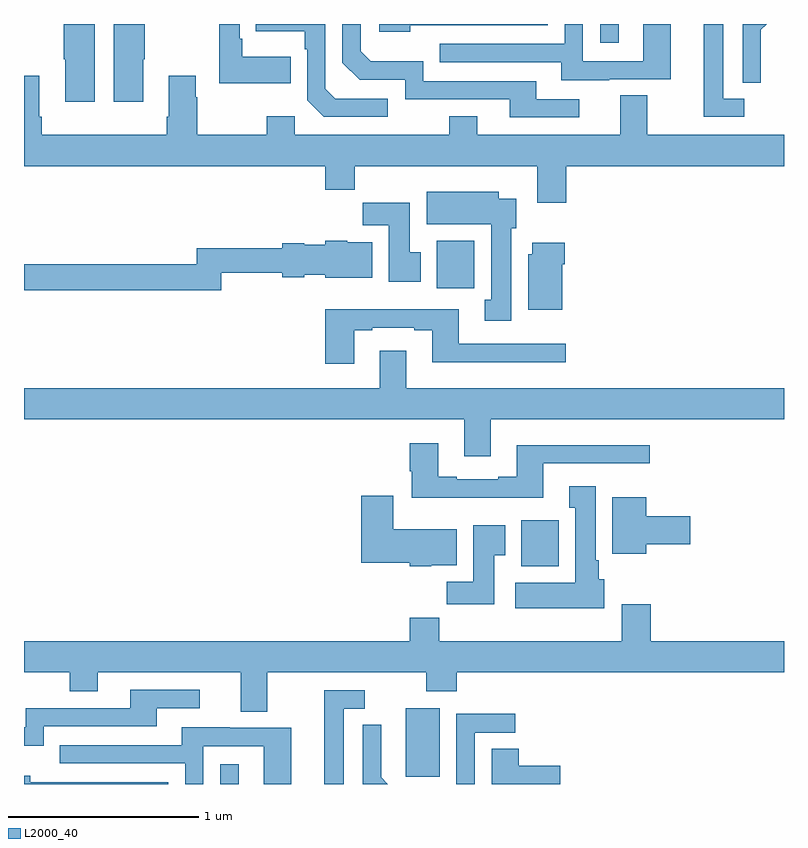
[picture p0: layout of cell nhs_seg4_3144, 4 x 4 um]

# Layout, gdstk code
import gdstk
lib = gdstk.Library(unit=1e-6, precision=1e-09)
def R(c, l, rs):  # rectangles x0, y0, x1, y1
    for r in rs: c.add(gdstk.rectangle(r[:2], r[2:], *l))
def P(c, l, *ps):  # polygons
    for p in ps: c.add(gdstk.Polygon(p, *l))
L2000_40 = (2000, 40)

nhs_seg4_3144 = lib.new_cell('nhs_seg4_3144')
R(nhs_seg4_3144, L2000_40, [(278.034,794.9,278.131,795.004), (279.008,794.937,279.187,795.298), (279.617,796.046,279.814,796.288), (279.173,797.508,279.369,797.758), (280.032,798.801,280.129,798.9)])
P(nhs_seg4_3144, L2000_40, [(279.922,798.504),(279.697,798.504),(279.697,798.6),(279.102,798.6),(279.102,798.703),(278.825,798.703),(278.772,798.756),(278.772,798.9),(278.676,798.9),(278.676,798.696),(278.766,798.606),(279.006,798.606),(279.006,798.504),(279.557,798.504),(279.557,798.408),(279.922,798.408)],
  [(280.792,798.507),(280.681,798.507),(280.681,798.9),(280.577,798.9),(280.577,798.411),(280.792,798.411)],
  [(278.405,798.727),(278.149,798.727),(278.149,798.823),(278.136,798.823),(278.136,798.9),(278.028,798.9),(278.028,798.587),(278.405,798.587)],
  [(278.914,798.507),(278.637,798.507),(278.586,798.558),(278.586,798.9),(278.221,798.9),(278.221,798.863),(278.478,798.863),(278.478,798.767),(278.49,798.767),(278.49,798.498),(278.577,798.411),(278.914,798.411)],
  [(280.081,798.609),(280.405,798.609),(280.405,798.9),(280.26,798.9),(280.26,798.705),(279.942,798.705),(279.942,798.9),(279.846,798.9),(279.846,798.795),(279.187,798.795),(279.187,798.699),(279.827,798.699),(279.827,798.605),(280.081,798.605)],
  [(277.372,798.9),(277.21,798.9),(277.21,798.715),(277.217,798.715),(277.217,798.492),(277.372,798.492)],
  [(277.627,798.715),(277.635,798.715),(277.635,798.9),(277.472,798.9),(277.472,798.492),(277.627,798.492)],
  [(280.878,798.746),(280.877,798.746),(280.877,798.869),(280.908,798.9),(280.782,798.9),(280.782,798.592),(280.878,798.592)],
  [(279.032,798.894),(279.756,798.894),(279.756,798.9),(278.871,798.9),(278.871,798.86),(279.032,798.86)],
  [(279.854,798.152),(281,798.152),(281,798.316),(280.279,798.316),(280.279,798.524),(280.139,798.524),(280.139,798.316),(279.385,798.316),(279.385,798.415),(279.238,798.415),(279.238,798.316),(278.424,798.316),(278.424,798.415),(278.278,798.415),(278.278,798.316),(277.911,798.316),(277.911,798.515),(277.903,798.515),(277.903,798.628),(277.763,798.628),(277.763,798.412),(277.751,798.412),(277.751,798.316),(277.094,798.316),(277.094,798.412),(277.081,798.412),(277.081,798.628),(277,798.628),(277,798.152),(278.585,798.152),(278.585,798.028),(278.741,798.028),(278.741,798.152),(279.701,798.152),(279.701,797.958),(279.854,797.958)],
  [(279.565,797.826),(279.592,797.826),(279.592,797.98),(279.499,797.98),(279.499,798.016),(279.119,798.016),(279.119,797.846),(279.458,797.846),(279.458,797.449),(279.425,797.449),(279.425,797.337),(279.565,797.337)],
  [(279.088,797.7),(279.031,797.7),(279.031,797.958),(278.782,797.958),(278.782,797.84),(278.921,797.84),(278.921,797.544),(279.088,797.544)],
  [(278.038,797.59),(278.36,797.59),(278.36,797.567),(278.475,797.567),(278.475,797.579),(278.586,797.579),(278.586,797.564),(278.833,797.564),(278.833,797.752),(278.7,797.752),(278.7,797.758),(278.586,797.758),(278.586,797.737),(278.475,797.737),(278.475,797.745),(278.36,797.745),(278.36,797.719),(277.909,797.719),(277.909,797.636),(277,797.636),(277,797.5),(278.038,797.5)],
  [(279.832,797.636),(279.845,797.636),(279.845,797.749),(279.674,797.749),(279.674,797.688),(279.653,797.688),(279.653,797.396),(279.832,797.396)],
  [(278.737,797.289),(278.833,797.289),(278.833,797.301),(279.053,797.301),(279.053,797.289),(279.149,797.289),(279.149,797.12),(279.85,797.12),(279.85,797.217),(279.289,797.217),(279.289,797.398),(278.585,797.398),(278.585,797.112),(278.737,797.112)],
  [(279.457,796.82),(281,796.82),(281,796.984),(279.013,796.984),(279.013,797.179),(278.873,797.179),(278.873,796.984),(277,796.984),(277,796.82),(279.317,796.82),(279.317,796.626),(279.457,796.626)],
  [(279.733,796.587),(280.294,796.587),(280.294,796.684),(279.593,796.684),(279.593,796.516),(279.497,796.516),(279.497,796.503),(279.277,796.503),(279.277,796.516),(279.181,796.516),(279.181,796.693),(279.029,796.693),(279.029,796.545),(279.041,796.545),(279.041,796.406),(279.733,796.406)],
  [(280.054,795.978),(280.024,795.978),(280.024,796.078),(280.009,796.078),(280.009,796.468),(279.869,796.468),(279.869,796.355),(279.902,796.355),(279.902,795.958),(279.585,795.958),(279.585,795.824),(280.054,795.824)],
  [(279.144,796.052),(279.277,796.052),(279.277,796.24),(278.944,796.24),(278.944,796.417),(278.774,796.417),(278.774,796.064),(279.03,796.064),(279.03,796.046),(279.144,796.046)],
  [(280.276,796.163),(280.507,796.163),(280.507,796.31),(280.276,796.31),(280.276,796.408),(280.097,796.408),(280.097,796.112),(280.276,796.112)],
  [(279.475,796.105),(279.532,796.105),(279.532,796.261),(279.365,796.261),(279.365,795.964),(279.226,795.964),(279.226,795.846),(279.475,795.846)],
  [(279.278,795.488),(281,795.488),(281,795.652),(280.298,795.652),(280.298,795.847),(280.145,795.847),(280.145,795.652),(279.185,795.652),(279.185,795.776),(279.029,795.776),(279.029,795.652),(277,795.652),(277,795.488),(277.24,795.488),(277.24,795.389),(277.387,795.389),(277.387,795.488),(278.141,795.488),(278.141,795.28),(278.281,795.28),(278.281,795.488),(279.118,795.488),(279.118,795.389),(279.278,795.389)],
  [(277.104,795.204),(277.699,795.204),(277.699,795.3),(277.924,795.3),(277.924,795.396),(277.559,795.396),(277.559,795.3),(277.008,795.3),(277.008,795.198),(277,795.198),(277,795.101),(277.104,795.101)],
  [(278.683,795.297),(278.794,795.297),(278.794,795.393),(278.579,795.393),(278.579,794.9),(278.683,794.9)],
  [(279.372,795.171),(279.586,795.171),(279.586,795.27),(279.276,795.27),(279.276,794.9),(279.372,794.9)],
  [(278.879,794.936),(278.879,795.058),(278.88,795.058),(278.88,795.212),(278.784,795.212),(278.784,794.9),(278.914,794.9)],
  [(277.944,795.099),(278.262,795.099),(278.262,794.9),(278.407,794.9),(278.407,795.195),(278.083,795.195),(278.083,795.199),(277.829,795.199),(277.829,795.105),(277.189,795.105),(277.189,795.009),(277.848,795.009),(277.848,794.9),(277.944,794.9)],
  [(279.823,794.996),(279.605,794.996),(279.605,795.086),(279.461,795.086),(279.461,794.9),(279.823,794.9)],
  [(277.758,794.91),(277.034,794.91),(277.034,794.944),(277,794.944),(277,794.9),(277.758,794.9)])

lib.write_gds('nhs_seg4_3144.gds')
